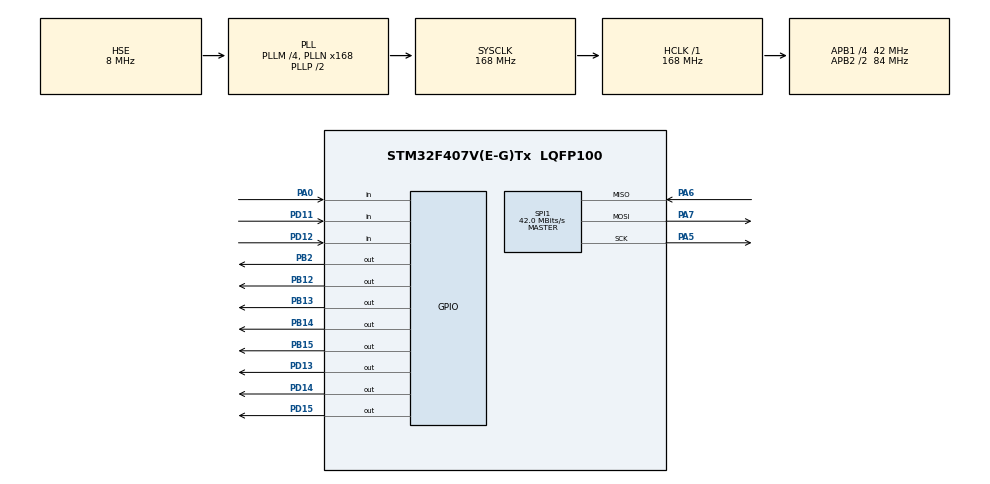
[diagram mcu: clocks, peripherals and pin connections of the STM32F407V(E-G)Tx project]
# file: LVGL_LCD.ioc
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Mcu.Family=STM32F4
Mcu.Name=STM32F407V(E-G)Tx
Mcu.Package=LQFP100
NVIC.PriorityGroup=NVIC_PRIORITYGROUP_4
NVIC.TIM3_IRQn=true\:0\:0\:false\:false\:true\:true\:true\:true
NVIC.TIM4_IRQn=true\:1\:0\:true\:false\:true\:true\:true\:true
PA0-WKUP.GPIO_Mode=GPIO_MODE_INPUT
PA0-WKUP.GPIO_PuPd=GPIO_PULLDOWN
PA0-WKUP.Signal=GPIO_Input
PA13.Mode=Serial_Wire
PA13.Signal=SYS_JTMS-SWDIO
PA14.Mode=Serial_Wire
PA14.Signal=SYS_JTCK-SWCLK
PA5.Mode=Full_Duplex_Master
PA5.Signal=SPI1_SCK
PA6.Mode=Full_Duplex_Master
PA6.Signal=SPI1_MISO
PA7.Mode=Full_Duplex_Master
PA7.Signal=SPI1_MOSI
PB12.GPIO_ModeDefaultOutputPP=GPIO_MODE_OUTPUT_PP
PB12.GPIO_PuPd=GPIO_NOPULL
PB12.GPIO_Speed=GPIO_SPEED_FREQ_HIGH
PB12.PinState=GPIO_PIN_RESET
PB12.Signal=GPIO_Output
PB13.GPIO_ModeDefaultOutputPP=GPIO_MODE_OUTPUT_PP
PB13.GPIO_PuPd=GPIO_NOPULL
PB13.GPIO_Speed=GPIO_SPEED_FREQ_HIGH
PB13.PinState=GPIO_PIN_RESET
PB13.Signal=GPIO_Output
PB14.GPIO_ModeDefaultOutputPP=GPIO_MODE_OUTPUT_PP
PB14.GPIO_PuPd=GPIO_NOPULL
PB14.GPIO_Speed=GPIO_SPEED_FREQ_HIGH
PB14.PinState=GPIO_PIN_RESET
PB14.Signal=GPIO_Output
PB15.GPIO_ModeDefaultOutputPP=GPIO_MODE_OUTPUT_PP
PB15.GPIO_PuPd=GPIO_NOPULL
PB15.GPIO_Speed=GPIO_SPEED_FREQ_HIGH
PB15.PinState=GPIO_PIN_RESET
PB15.Signal=GPIO_Output
PB2.Signal=GPIO_Output
PD11.GPIO_Mode=GPIO_MODE_INPUT
PD11.GPIO_PuPd=GPIO_PULLUP
PD11.Signal=GPIO_Input
PD12.GPIO_Mode=GPIO_MODE_INPUT
PD12.GPIO_PuPd=GPIO_PULLUP
PD12.Signal=GPIO_Input
PD13.GPIO_ModeDefaultOutputPP=GPIO_MODE_OUTPUT_PP
PD13.GPIO_PuPd=GPIO_NOPULL
PD13.GPIO_Speed=GPIO_SPEED_FREQ_HIGH
PD13.PinState=GPIO_PIN_RESET
PD13.Signal=GPIO_Output
PD14.GPIO_ModeDefaultOutputPP=GPIO_MODE_OUTPUT_PP
PD14.GPIO_PuPd=GPIO_NOPULL
PD14.GPIO_Speed=GPIO_SPEED_FREQ_HIGH
PD14.PinState=GPIO_PIN_RESET
PD14.Signal=GPIO_Output
PD15.GPIO_ModeDefaultOutputPP=GPIO_MODE_OUTPUT_PP
PD15.GPIO_PuPd=GPIO_NOPULL
PD15.GPIO_Speed=GPIO_SPEED_FREQ_HIGH
PD15.PinState=GPIO_PIN_RESET
PD15.Signal=GPIO_Output
PH0-OSC_IN.Mode=HSE-External-Oscillator
PH0-OSC_IN.Signal=RCC_OSC_IN
PH1-OSC_OUT.Mode=HSE-External-Oscillator
PH1-OSC_OUT.Signal=RCC_OSC_OUT
ProjectManager.HeapSize=0x200
ProjectManager.StackSize=0x400
ProjectManager.TargetToolchain=MDK-ARM V5.32
RCC.48MHZClocksFreq_Value=84000000
RCC.AHBFreq_Value=168000000
RCC.APB1CLKDivider=RCC_HCLK_DIV4
RCC.APB1Freq_Value=42000000
RCC.APB1TimFreq_Value=84000000
RCC.APB2CLKDivider=RCC_HCLK_DIV2
RCC.APB2Freq_Value=84000000
RCC.APB2TimFreq_Value=168000000
RCC.CortexFreq_Value=168000000
RCC.HCLKFreq_Value=168000000
RCC.HSE_VALUE=8000000
RCC.HSI_VALUE=16000000
RCC.LSE_VALUE=32768
RCC.PLLM=4
RCC.PLLN=168
RCC.PLLSourceVirtual=RCC_PLLSOURCE_HSE
RCC.SYSCLKFreq_VALUE=168000000
RCC.SYSCLKSource=RCC_SYSCLKSOURCE_PLLCLK
RCC.VCOOutputFreq_Value=336000000
SPI1.CalculateBaudRate=42.0 MBits/s
SPI1.Direction=SPI_DIRECTION_2LINES
SPI1.Mode=SPI_MODE_MASTER
SPI1.VirtualType=VM_MASTER
TIM3.Period=10000-1
TIM3.Prescaler=168-1
TIM4.Period=1000-1
TIM4.Prescaler=168-1
TIM7.Period=65535
TIM7.Prescaler=168-1
VP_TIM3_VS_ClockSourceINT.Mode=Internal
VP_TIM4_VS_ClockSourceINT.Mode=Internal
VP_TIM7_VS_ClockSourceINT.Mode=Enable_Timer
board=custom

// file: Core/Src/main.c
/* USER CODE BEGIN Header */
/**
  ******************************************************************************
  * @file           : main.c
  * @brief          : Main program body
  ******************************************************************************
  * @attention
  *
  * Copyright (c) 2024 STMicroelectronics.
  * All rights reserved.
  *
  * This software is licensed under terms that can be found in the LICENSE file
  * in the root directory of this software component.
  * If no LICENSE file comes with this software, it is provided AS-IS.
  *
  ******************************************************************************
  */
/* USER CODE END Header */
#include "main.h"
#include "spi.h"
#include "tim.h"
#include "gpio.h"

/* USER CODE BEGIN Includes */
#include "sys.h"
#include "GUI.h"
#include "lcd.h"
#include "touch.h"
#include "test.h"
#include "key.h"
#include "lvgl.h"
#include "lv_port_disp_template.h"
#include "lv_port_indev_template.h"
#include "stdio.h"
/* USER CODE END Includes */

void SystemClock_Config(void);

/* USER CODE BEGIN 0 */
void HAL_TIM_PeriodElapsedCallback(TIM_HandleTypeDef *htim)
{
	if(htim->Instance == TIM4)
	{
		static int i;
		lv_tick_inc(1);//心跳
		i++;
		if( i == 100)
		{
			i=0;
			PBout(2) = !PBout(2);
		}

	}

	if(htim->Instance == TIM3)
	{
		Key_Scan();

	}
}

/* USER CODE END 0 */

int main(void)
{

  /* MCU Configuration--------------------------------------------------------*/

  /* Reset of all peripherals, Initializes the Flash interface and the Systick. */
  HAL_Init();

  /* Configure the system clock */
  SystemClock_Config();

  /* Initialize all configured peripherals */
  MX_GPIO_Init();
  MX_SPI1_Init();
  MX_TIM4_Init();
  MX_TIM7_Init();
  MX_TIM3_Init();
  /* USER CODE BEGIN 2 */
  HAL_TIM_Base_Start_IT(&htim4);
  HAL_TIM_Base_Start_IT(&htim3);
  LCD_Init();

//////
//  TP_Adjust();

//  char TEST[50];
//  sprintf(TEST,"xfac:%.1f,yfac:%.1f",tp_dev.xfac,tp_dev.yfac);
//	LCD_ShowString(10,12,16,TEST,1);//显示提示信息
//
//	sprintf(TEST,"xoff:%d,yoff:%d",tp_dev.xoff,tp_dev.yoff);
//   LCD_ShowString(10,42,16,TEST,1);//显示提示信息
//

    LCD_Clear(RED);
//  lv_init();			  // lvgl系统初始化
//  lv_port_disp_init();  // lvgl显示接口初始化,放在lv_init()的后面
//
//  lv_port_indev_init();
//
//  lv_example_keyboard_1();

  /* USER CODE END 2 */

  /* Infinite loop */
  while (1)
  {

    /* USER CODE BEGIN 3 */
//	 tp_dev.scan(0);
//	  char test[40];
//
//		sprintf(test,"X:%04d,Y%04d",tp_dev.x,tp_dev.x);
//		LCD_ShowString(10,40,16,test,1);//显示提示信息
//
//	  HAL_Delay(100);

//
//	  TP_Scan(0);
//	  if(tp_dev.sta & TP_PRES_DOWN)
//	  {
//		  LCD_Clear(WHITE);
//		  sprintf(TEST,"x:%d,y:%d",tp_dev.x,tp_dev.y);
//		  LCD_ShowString(10,70,16,TEST,1);//显示提示信息
//
//	  }

	  lv_task_handler(); // lvgl的事务处理

  }
  /* USER CODE END 3 */
}

void SystemClock_Config(void)
{
  RCC_OscInitTypeDef RCC_OscInitStruct = {0};
  RCC_ClkInitTypeDef RCC_ClkInitStruct = {0};

  /** Configure the main internal regulator output voltage
  */
  __HAL_RCC_PWR_CLK_ENABLE();
  __HAL_PWR_VOLTAGESCALING_CONFIG(PWR_REGULATOR_VOLTAGE_SCALE1);

  /** Initializes the RCC Oscillators according to the specified parameters
  * in the RCC_OscInitTypeDef structure.
  */
  RCC_OscInitStruct.OscillatorType = RCC_OSCILLATORTYPE_HSE;
  RCC_OscInitStruct.HSEState = RCC_HSE_ON;
  RCC_OscInitStruct.PLL.PLLState = RCC_PLL_ON;
  RCC_OscInitStruct.PLL.PLLSource = RCC_PLLSOURCE_HSE;
  RCC_OscInitStruct.PLL.PLLM = 4;
  RCC_OscInitStruct.PLL.PLLN = 168;
  RCC_OscInitStruct.PLL.PLLP = RCC_PLLP_DIV2;
  RCC_OscInitStruct.PLL.PLLQ = 4;
  if (HAL_RCC_OscConfig(&RCC_OscInitStruct) != HAL_OK)
  {
    Error_Handler();
  }

  /** Initializes the CPU, AHB and APB buses clocks
  */
  RCC_ClkInitStruct.ClockType = RCC_CLOCKTYPE_HCLK|RCC_CLOCKTYPE_SYSCLK
                              |RCC_CLOCKTYPE_PCLK1|RCC_CLOCKTYPE_PCLK2;
  RCC_ClkInitStruct.SYSCLKSource = RCC_SYSCLKSOURCE_PLLCLK;
  RCC_ClkInitStruct.AHBCLKDivider = RCC_SYSCLK_DIV1;
  RCC_ClkInitStruct.APB1CLKDivider = RCC_HCLK_DIV4;
  RCC_ClkInitStruct.APB2CLKDivider = RCC_HCLK_DIV2;

  if (HAL_RCC_ClockConfig(&RCC_ClkInitStruct, FLASH_LATENCY_5) != HAL_OK)
  {
    Error_Handler();
  }
}

void Error_Handler(void)
{
  __disable_irq();
  while (1)
  {
  }
}
